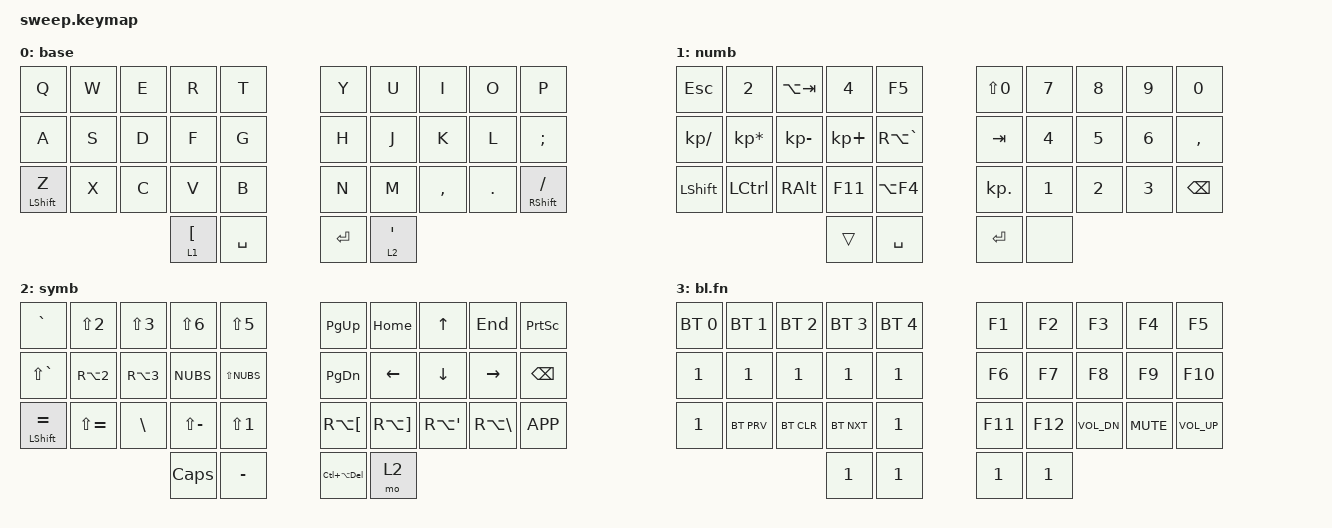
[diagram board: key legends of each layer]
/*
 * Copyright (c) 2020 The ZMK Contributors
 *
 * SPDX-License-Identifier: MIT
 */

#include <behaviors.dtsi>
#include <dt-bindings/zmk/keys.h>
#include <dt-bindings/zmk/bt.h>
#include <dt-bindings/zmk/outputs.h>
#include <dt-bindings/zmk/pointing.h>






        keymap {
                compatible = "zmk,keymap";

		
       		default_layer {
		display-name = "base";
		bindings = <
		&kp Q      &kp W &kp E &kp R &kp T 					&kp Y &kp U  &kp I    &kp O   &kp P 
		&kp A      &kp S &kp D &kp F &kp G 			        	&kp H &kp J  &kp K    &kp L   &kp SEMI
		&mt LSHIFT Z &kp X &kp C &kp V &kp B				        &kp N &kp M  &kp COMMA &kp DOT &mt RSHIFT SLASH
          				&lt 1 LBKT &kp SPACE  			&kp RET &lt 2 SQT
		>;
		};

       		left_layer {
		display-name = "numb";
		bindings = <
		&kp ESC         &kp N2          &kp LA(TAB)		&kp N4       &kp F5				&kp LS(N0) &kp N7  &kp N8 &kp N9  &kp N0 
		&kp KP_SLASH    &kp KP_ASTERISK    &kp KP_MINUS      &kp KP_PLUS     &kp RA(GRAVE) 			&kp TAB       &kp N4  &kp N5 &kp N6  &kp COMMA 
		&kp LSHIFT        &kp LCTRL 	   &kp RALT          &kp F11         &kp LA(F4) 			&kp KP_DOT    &kp N1  &kp N2 &kp N3  &kp BSPC 
					    						&trans  &kp SPACE   	&kp RET &none
		>;
		};
		
		right_layer {
		display-name = "symb";
		bindings = <
		&kp GRAVE       &kp LS(N2)  &kp LS(N3)  &kp LS(N6)   &kp LS(N5)		&kp PG_UP    &kp HOME     &kp UP      &kp END       &kp PSCRN 
		&kp LS(GRAVE)   &kp RA(N2)  &kp RA(N3)  &kp NUBS        &kp LS(NUBS)		&kp PG_DN    &kp LEFT     &kp DOWN    &kp RIGHT     &kp BSPC
		&mt LSHIFT EQUAL  &kp LS(EQUAL)  &kp BSLH       &kp LS(MINUS)   &kp LS(N1)    	        &kp RA(LBKT) &kp RA(RBKT) &kp RA(SQT) &kp RA(BSLH)  &kp K_APP
									  &kp CAPS &kp MINUS  	    &kp LC(LA(DEL))  &mo 2 
		>;
		};	
		
		tri_layer {
		display-name = "bl.fn";
		bindings = <
		&bt BT_SEL 0  &bt BT_SEL 1  &bt BT_SEL 2  &bt BT_SEL 3  &bt BT_SEL 4 			&kp F1   &kp F2   &kp F3        &kp F4      &kp F5
		&kp N1     &kp N1     &kp N1     &kp N1     &kp N1  			&kp F6   &kp F7   &kp F8        &kp F9      &kp F10 
		&kp N1     &bt BT_PRV    &bt BT_CLR    &bt BT_NXT    &kp N1   			&kp F11  &kp F12  &kp K_VOL_DN  &kp K_MUTE  &kp K_VOL_UP   
								     &kp N1 &kp N1  	     &kp N1 &kp N1 
		>;
		};	
        
	};
};
